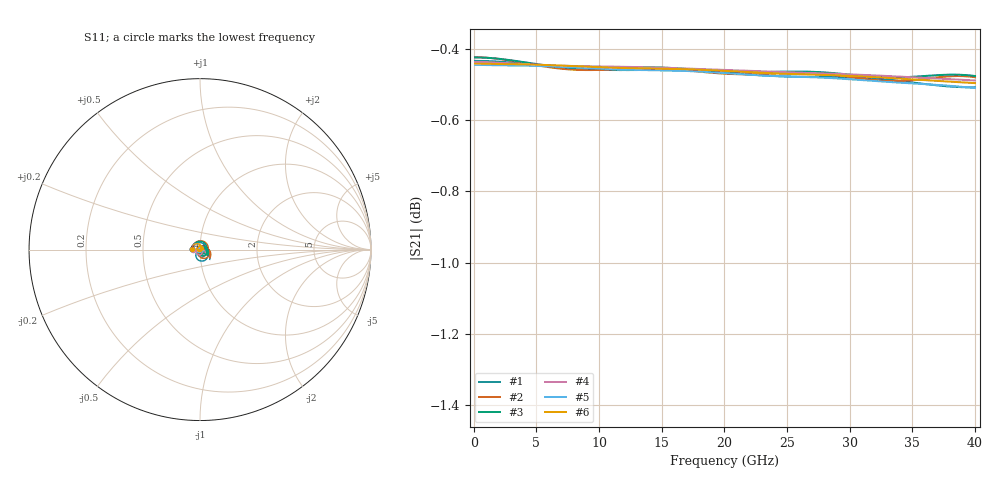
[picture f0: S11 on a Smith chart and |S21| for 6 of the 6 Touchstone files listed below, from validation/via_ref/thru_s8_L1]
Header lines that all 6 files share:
! thru_s8_L1: 2×thru, L1, 8 mm
! stackup: 8-layer 1.6 mm FR-4 (generic)
! ports: 1, 2
# Hz S RI R 50
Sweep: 100 MHz to 40 GHz
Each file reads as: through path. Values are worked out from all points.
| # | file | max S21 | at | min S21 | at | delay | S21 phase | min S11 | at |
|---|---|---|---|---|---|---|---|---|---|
| 1 | cst.s2p | -0.43 dB | 200 MHz | -0.5 dB | 39.9 GHz | 46.8 ps | 23 deg at 20.1 GHz | -58.6 dB | 36.1 GHz |
| 2 | cst_fine.s2p | -0.42 dB | 200 MHz | -0.5 dB | 33.5 GHz | 46.6 ps | 24 deg at 20.1 GHz | -61.8 dB | 34.8 GHz |
| 3 | cst_xfine.s2p | -0.42 dB | 200 MHz | -0.5 dB | 33.5 GHz | 46.5 ps | 25 deg at 20.1 GHz | -59.9 dB | 11.4 GHz |
| 4 | kisi.s2p | -0.44 dB | 100 MHz | -0.5 dB | 40 GHz | 46.8 ps | 23 deg at 20.1 GHz | -48.9 dB | 27.4 GHz |
| 5 | openems.s2p | -0.44 dB | 100 MHz | -0.5 dB | 40 GHz | 46.9 ps | 22 deg at 20.1 GHz | -56.1 dB | 10.4 GHz |
| 6 | openems_base.s2p | -0.44 dB | 100 MHz | -0.5 dB | 40 GHz | 46.7 ps | 24 deg at 20.1 GHz | -67.5 dB | 10.7 GHz |
